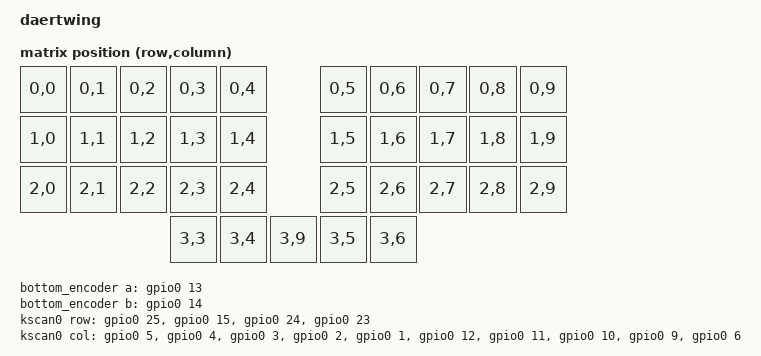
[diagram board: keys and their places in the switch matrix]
/*
 * Copyright (c) 2024 The ZMK Contributors
 * SPDX-License-Identifier: MIT
 */

/dts-v1/;

#include <rpi_pico/rp2040.dtsi>
#include <dt-bindings/zmk/matrix_transform.h>
#include <dt-bindings/pinctrl/rpi-pico-rp2040-pinctrl.h>


/ {
    model = "daertwing";
	compatible = "raspberrypi,rp2040";

    chosen {
        zephyr,sram = &sram0;
        zephyr,flash = &flash0;
		zephyr,flash-controller = &ssi; //?? pete only
		// zephyr,console = &uart0; //?? pete only, but not sure whether special uart is needed for non-split
        zephyr,console = &cdc_acm_uart; //?? de60 only
        // zephyr,shell-uart = &cdc_acm_uart; //?? de60 only
        zephyr,code-partition = &code_partition;
        zmk,kscan = &kscan0;
        zmk,matrix-transform = &default_transform;
    };

    xtal_clk: xtal-clk {
        compatible = "fixed-clock";
        clock-frequency = <12000000>;
        #clock-cells = <0>;
    };

    default_transform: keymap_transform {
        compatible = "zmk,matrix-transform";
        columns = <10>;
        rows = <4>;
        map = <
			RC(0,0) RC(0,1) RC(0,2) RC(0,3) RC(0,4)         RC(0,5) RC(0,6) RC(0,7) RC(0,8) RC(0,9)
			RC(1,0) RC(1,1) RC(1,2) RC(1,3) RC(1,4)         RC(1,5) RC(1,6) RC(1,7) RC(1,8) RC(1,9)
			RC(2,0) RC(2,1) RC(2,2) RC(2,3) RC(2,4)         RC(2,5) RC(2,6) RC(2,7) RC(2,8) RC(2,9)
			                        RC(3,3) RC(3,4) RC(3,9) RC(3,5) RC(3,6) 
        >;
    };

    bottom_encoder: bottom_encoder {
        compatible = "alps,ec11";
        a-gpios = <&gpio0 13 (GPIO_ACTIVE_HIGH | GPIO_PULL_UP)>;
        b-gpios = <&gpio0 14 (GPIO_ACTIVE_HIGH | GPIO_PULL_UP)>;
        // resolution = <4>;
        steps = <80>;
        status = "okay";
    };

    sensors: sensors {
        compatible = "zmk,keymap-sensors";
        sensors = <&bottom_encoder>;
        triggers-per-rotation = <20>;
    };

    kscan0: kscan {
        compatible = "zmk,kscan-gpio-matrix";
        diode-direction = "col2row";
        wakeup-source;
        row-gpios
            = <&gpio0 25 (GPIO_ACTIVE_HIGH | GPIO_PULL_DOWN)>
            , <&gpio0 15 (GPIO_ACTIVE_HIGH | GPIO_PULL_DOWN)>
            , <&gpio0 24 (GPIO_ACTIVE_HIGH | GPIO_PULL_DOWN)>
            , <&gpio0 23 (GPIO_ACTIVE_HIGH | GPIO_PULL_DOWN)>
            ;
        col-gpios
            = <&gpio0 5 GPIO_ACTIVE_HIGH>
            , <&gpio0 4 GPIO_ACTIVE_HIGH>
            , <&gpio0 3 GPIO_ACTIVE_HIGH>
            , <&gpio0 2 GPIO_ACTIVE_HIGH>
            , <&gpio0 1 GPIO_ACTIVE_HIGH>
            , <&gpio0 12 GPIO_ACTIVE_HIGH>
            , <&gpio0 11 GPIO_ACTIVE_HIGH>
            , <&gpio0 10 GPIO_ACTIVE_HIGH>
            , <&gpio0 9 GPIO_ACTIVE_HIGH>
            , <&gpio0 6 GPIO_ACTIVE_HIGH>
            ;
    };
};

&flash0 {
	/* 8MB of flash minus the 0x100 used for
	 * the second stage bootloader
	 */
    reg = <0x10000000 DT_SIZE_M(16)>;

    partitions {
        compatible = "fixed-partitions";
        #address-cells = <1>;
        #size-cells = <1>;

        /* Reserved memory for the second stage bootloader */ //?? de60 only
        // second_stage_bootloader: partition@0 {
        //     reg = <0x00000000 0x100>;
        //     read-only;
        // };

		/*
		 * Start at the beginning of usable flash, 8MB minus the
		 * second stage space and the 16 KiB reserved for settings
		 */
        code_partition: partition@100 {
            reg = <0x100 (DT_SIZE_M(16) - 0x100 - DT_SIZE_K(512))>; //?? pete
            // reg = <0x100 (DT_SIZE_M(16) - 0x100)>; //?? de60
            read-only;
        };

		storage_partition: partition@180000 { //?? pete only
			reg = <0xf80000 DT_SIZE_K(512)>;
			read-only;
		};
    };
};


&usbd {
  status = "okay";
  cdc_acm_uart: cdc_acm_uart {
    compatible = "zephyr,cdc-acm-uart";
  };
};
